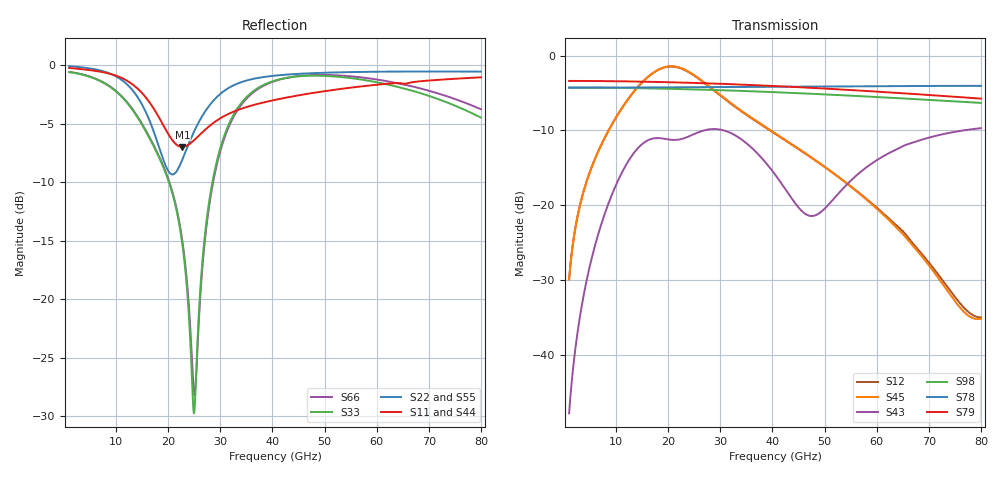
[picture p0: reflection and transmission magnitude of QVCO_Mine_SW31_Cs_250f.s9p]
! Touchstone Ver. 1.0
! Number of ports is 9
# Hz	S	RI	R	50.000000
! SCATTERING PARAMETERS  :
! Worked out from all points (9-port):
!   1001 points, 1 GHz to 80 GHz, reference 50 ohm
!   strongest paths, dB at 1 GHz, 20.75 GHz, 40.5 GHz, 60.25 GHz, 80 GHz:
!     S79: -3.4, -3.6, -4.1, -4.8, -5.8
!     S78: -4.3, -4.2, -4.2, -4.1, -4.0
!     S98: -4.3, -4.4, -4.9, -5.5, -6.3
!     S43: -47.8, -11.3, -15.9, -13.9, -9.7
!     S45: -29.9, -1.4, -10.4, -20.6, -35.2
!     S12: -29.9, -1.5, -10.4, -20.5, -35.0
!   lowest |S11| = -7.0 dB at 22.73 GHz (marker M1), VSWR 2.61, Z = 37.6 + j41.5 ohm
!   |S11| at or under -10 dB: nowhere
